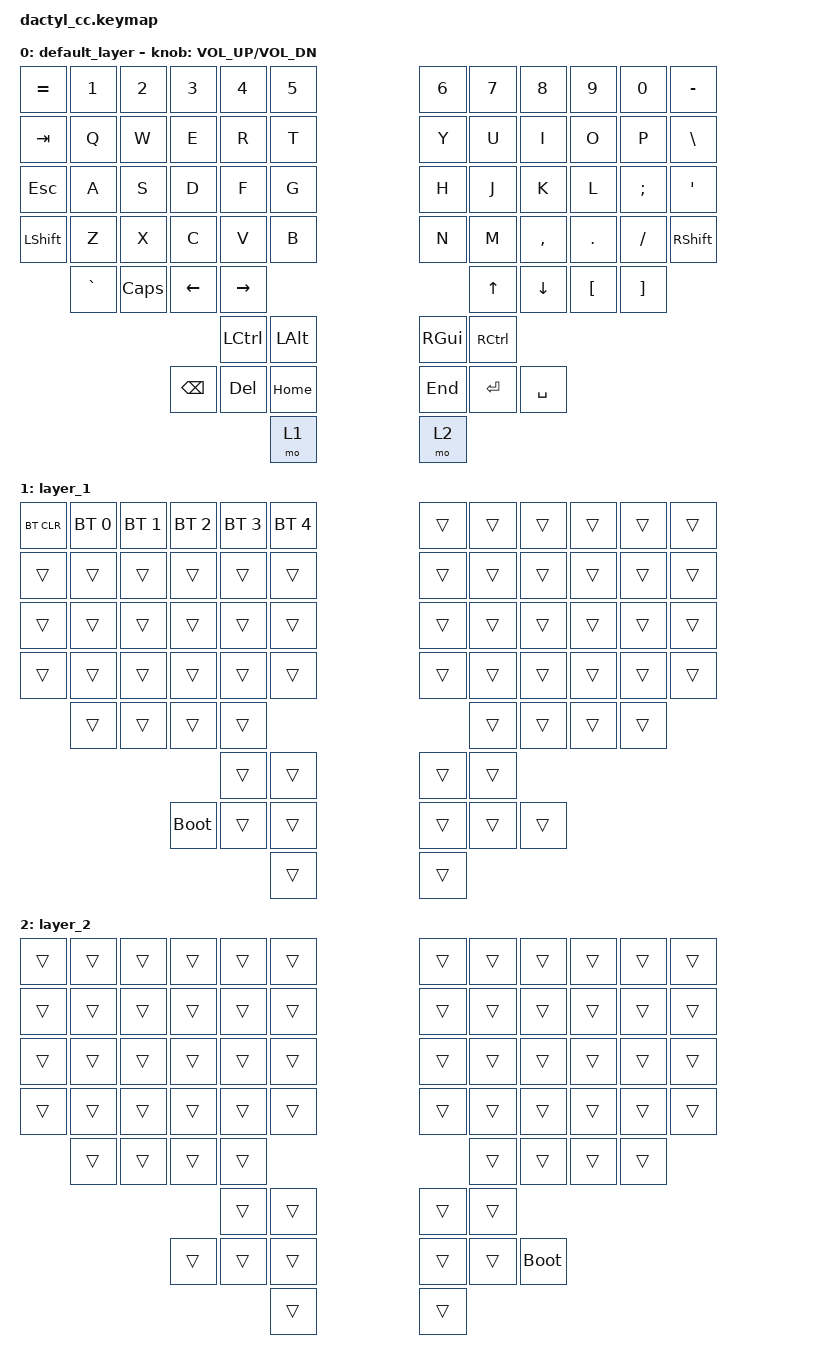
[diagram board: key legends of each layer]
/*
 * Copyright (c) 2020 The ZMK Contributors
 *
 * SPDX-License-Identifier: MIT
 */

#include <behaviors.dtsi>
#include <dt-bindings/zmk/bt.h>
#include <dt-bindings/zmk/keys.h>

/ {
    keymap {
        compatible = "zmk,keymap";

        default_layer {
            // ------------------------------------------------------------------------------------------------------------
            // |  ESC   |  1  |  2  |  3   |  4   |  5   |                    |  6   |  7    |  8    |  9   |   0   |   `   |
            // |  TAB   |  Q  |  W  |  E   |  R   |  T   |                    |  Y   |  U    |  I    |  O   |   P   |   -   |
            // |  CTRL  |  A  |  S  |  D   |  F   |  G   |                    |  H   |  J    |  K    |  L   |   ;   |   '   |
            // | SHIFT  |  Z  |  X  |  C   |  V   |  B   |                    |  N   |  M    |  ,    |  .   |   /   | SHIFT |
            // |    2   |  2  | f   | 6    | 4    | 1    |                    | 2    | 1     | w     | s    | n     |  a    |

            bindings = <
&kp EQUAL  &kp N1    &kp N2    &kp N3     &kp N4     &kp N5                        &kp N6     &kp N7    &kp N8     &kp N9   &kp N0    &kp MINUS
&kp TAB    &kp Q     &kp W     &kp E      &kp R      &kp T                         &kp Y      &kp U     &kp I      &kp O    &kp P     &kp BSLH
&kp ESC    &kp A     &kp S     &kp D      &kp F      &kp G                         &kp H      &kp J     &kp K      &kp L    &kp SEMI  &kp SQT
&kp LSHFT  &kp Z     &kp X     &kp C      &kp V      &kp B                         &kp N      &kp M     &kp COMMA  &kp DOT  &kp FSLH  &kp RSHIFT
           &kp GRAVE  &kp CAPS  &kp LEFT  &kp RIGHT                                           &kp UP    &kp DOWN   &kp LBKT  &kp RBKT
                                          &kp LCTRL  &kp LALT                      &kp RGUI   &kp RCTRL
                             &kp BSPC   &kp DEL    &kp HOME                        &kp END    &kp ENTER  &kp SPACE
                                                   &mo 1                           &mo 2
            >;

            sensor-bindings = <&inc_dec_kp C_VOL_UP C_VOL_DN>;
        };

        layer_1 {
            bindings = <
&bt BT_CLR  &bt BT_SEL 0  &bt BT_SEL 1  &bt BT_SEL 2  &bt BT_SEL 3  &bt BT_SEL 4                  &trans  &trans  &trans  &trans  &trans  &trans
&trans      &trans        &trans        &trans        &trans        &trans                        &trans  &trans  &trans  &trans  &trans  &trans
&trans      &trans        &trans        &trans        &trans        &trans                        &trans  &trans  &trans  &trans  &trans  &trans
&trans      &trans        &trans        &trans        &trans        &trans                        &trans  &trans  &trans  &trans  &trans  &trans
&trans      &trans        &trans        &trans                                    &trans          &trans  &trans  &trans
&trans      &trans                      &trans        &trans
                                        &bootloader   &trans        &trans        &trans  &trans  &trans
            &trans        &trans
            >;
        };

        layer_2 {
            bindings = <
&trans  &trans  &trans  &trans  &trans  &trans                  &trans       &trans  &trans  &trans  &trans  &trans
&trans  &trans  &trans  &trans  &trans  &trans                  &trans       &trans  &trans  &trans  &trans  &trans
&trans  &trans  &trans  &trans  &trans  &trans                  &trans       &trans  &trans  &trans  &trans  &trans
&trans  &trans  &trans  &trans  &trans  &trans                  &trans       &trans  &trans  &trans  &trans  &trans
&trans  &trans  &trans  &trans                  &trans          &trans       &trans  &trans
&trans  &trans          &trans  &trans
                        &trans  &trans  &trans  &trans  &trans  &bootloader
        &trans  &trans
            >;
        };
    };
};
